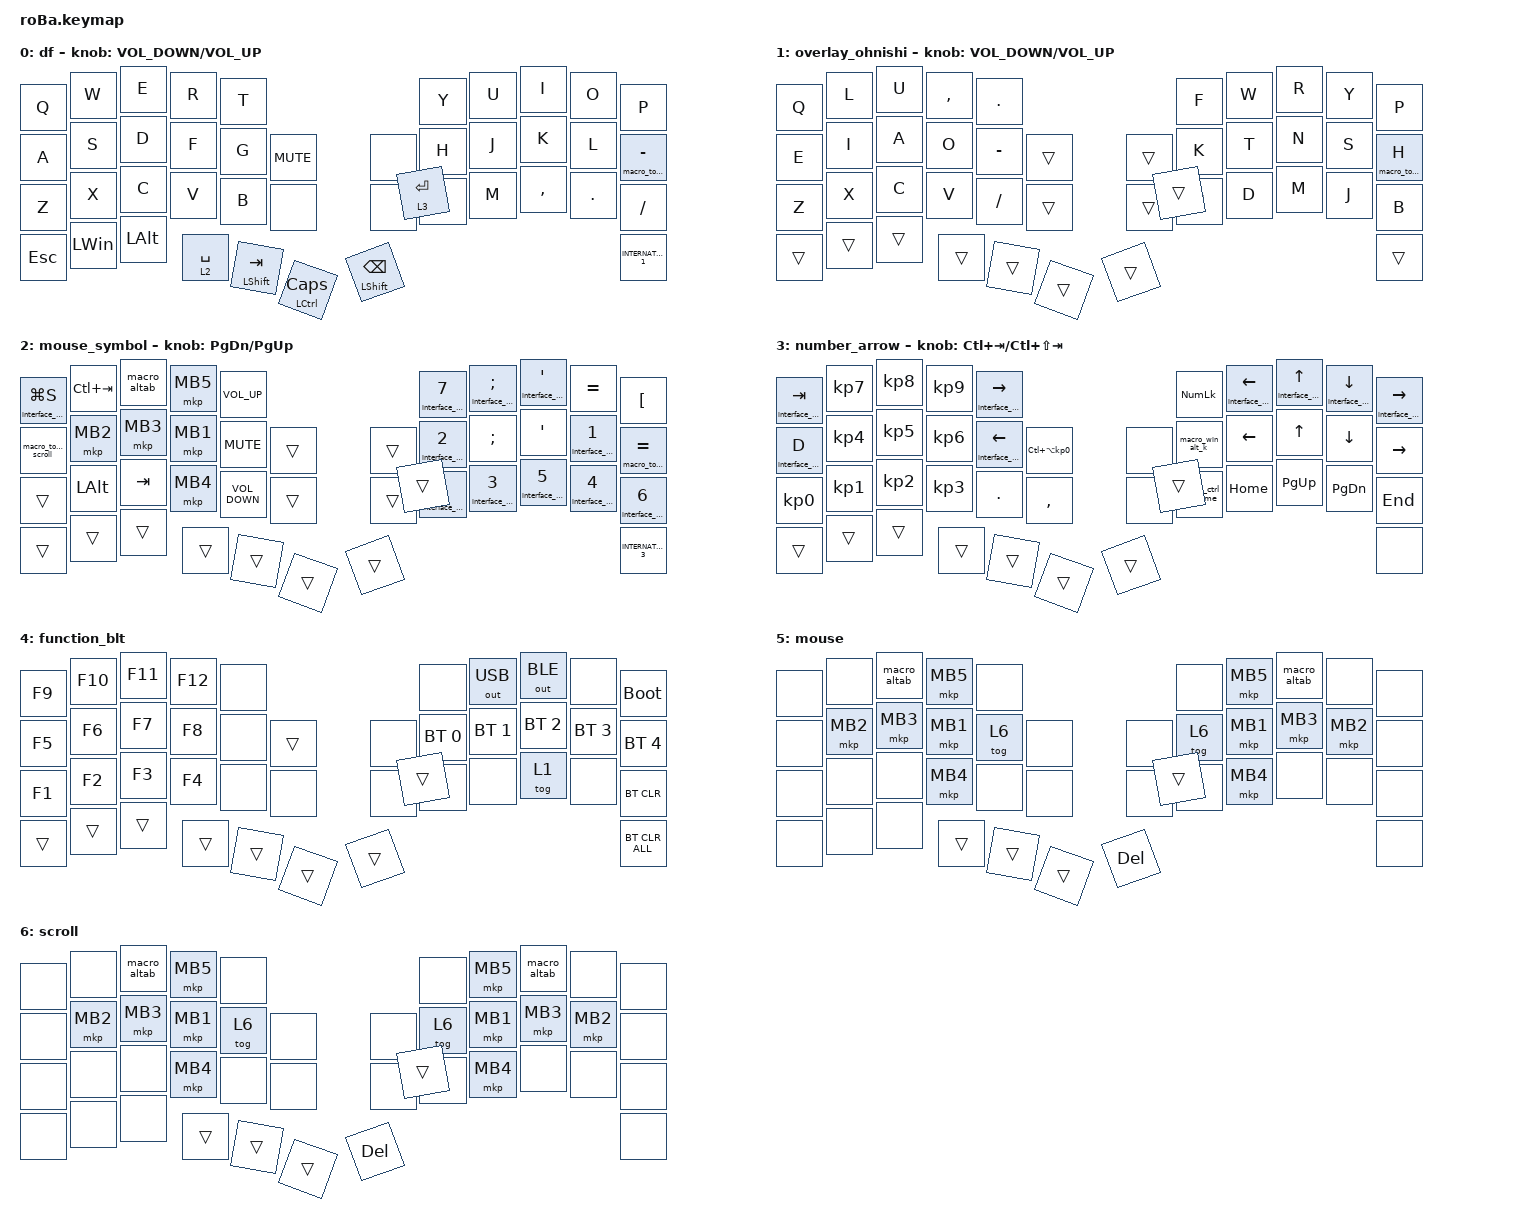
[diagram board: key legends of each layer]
#include <behaviors.dtsi>
#include <dt-bindings/zmk/bt.h>
#include <dt-bindings/zmk/keys.h>
#include <dt-bindings/zmk/outputs.h>
#include <dt-bindings/zmk/pointing.h>

#define MOUSE 1
#define SCROLL 2
#define NUM 6

// OS設定を日本語キーボードのまま使用するための変換定義

#define JP_ZKHK  GRAVE        // Zenkaku ↔ Hankaku ↔ Kanji (半角 ↔ 全角 ↔ 漢字)
#define JP_MINUS MINUS        // -
#define JP_CARET EQUAL        // ^
#define JP_YEN   INT3         // ¥
#define JP_AT    LBKT         // @
#define JP_LBKT  RBKT         // [
#define JP_EISU  CAPS         // Eisū (英数)
#define JP_SEMI  SEMI         // ;
#define JP_COLON SQT          // :
#define JP_RBKT  NUHS         // ]
#define JP_COMMA COMMA        // ,
#define JP_DOT   DOT          // .
#define JP_SLASH SLASH        // /
#define JP_BSLH  INT1         // (backslash)
#define JP_MHEN  INT5         // Muhenkan (無変換)
#define JP_HENK  INT4         // Henkan (変換)
#define JP_KANA  INT2         // Katakana ↔ Hiragana ↔ Rōmaji (カタカナ ↔ ひらがな ↔ ローマ字)
#define JP_EXCL  LS(N1)       // !
#define JP_DQT   LS(N2)       // "
#define JP_HASH  LS(N3)       // #
#define JP_DLLR  LS(N4)       // $
#define JP_PRCNT LS(N5)       // %
#define JP_AMPS  LS(N6)       // &
#define JP_SQT   LS(N7)       // '
#define JP_LPAR  LS(N8)       // (
#define JP_RPAR  LS(N9)       // )
#define JP_EQUAL LS(JP_MINUS) // =
#define JP_TILDE LS(JP_CARET) // ~
#define JP_PIPE  LS(JP_YEN)   // |
#define JP_GRAVE LS(JP_AT)    // `
#define JP_LBRC  LS(JP_LBKT)  // {
#define JP_CAPS  LS(JP_EISU)  // Caps Lock
#define JP_PLUS  LS(JP_SEMI)  // +
#define JP_ASTRK LS(JP_COLON) // *
#define JP_RBRC  LS(JP_RBKT)  // }
#define JP_LT    LS(JP_COMMA) // <
#define JP_RT    LS(JP_DOT)   // >
#define JP_QMARK LS(JP_SLASH) // ?
#define JP_UNDER LS(JP_BSLH)  // _

&mt {
    flavor = "balanced";
    quick-tap-ms = <165>;
    tapping-term-ms = <170>;
};

&lt {
    flavor = "balanced";
    quick-tap-ms = <165>;
    tapping-term-ms = <170>;
};

/ {
    combos {
        compatible = "zmk,combos";

        combo_lang1 {
            bindings = <&kp INTERNATIONAL_5>;
            key-positions = <13 12>;
            layers = <0 1>;
        };

        combo_lang2 {
            bindings = <&kp INTERNATIONAL_4>;
            key-positions = <18 19>;
            layers = <0 1>;
        };

        combo_square_bracket_left {
            bindings = <&kp RIGHT_BRACKET>;
            key-positions = <2 3>;
            layers = <0 1>;
        };

        combo_square_bracket_right {
            bindings = <&kp NUHS>;
            key-positions = <7 6>;
            layers = <0 1>;
        };

        combo_parenthess_left {
            bindings = <&interface_shift N8>;
            key-positions = <24 25>;
            layers = <0 1>;
        };

        combo_parenthess_right {
            bindings = <&interface_shift N9>;
            key-positions = <30 31>;
            layers = <0 1>;
        };

        combo_curly_bracket_left {
            bindings = <&interface_shift RIGHT_BRACKET>;
            key-positions = <3 2>;
            layers = <2>;
        };

        combo_curly_bracket_right {
            bindings = <&interface_shift NUHS>;
            key-positions = <7 6>;
            layers = <2>;
        };

        combo_angle_braket_left {
            bindings = <&interface_shift COMMA>;
            key-positions = <25 24>;
            layers = <2>;
        };

        combo_angle_braket_right {
            bindings = <&interface_shift PERIOD>;
            key-positions = <30 31>;
            layers = <2>;
        };
    };

    macros {
        to_layer_0: to_layer_0 {
            compatible = "zmk,behavior-macro-one-param";
            #binding-cells = <1>;
            bindings = <&to 0 &macro_param_1to1 &kp MACRO_PLACEHOLDER>;
            label = "TO_LAYER_0";
        };

        interface_shift: interface_shift {
            compatible = "zmk,behavior-macro-one-param";
            #binding-cells = <1>;
            bindings =
                <&macro_press>,
                <&kp LEFT_SHIFT>,
                <&macro_tap>,
                <&macro_param_1to1 &kp MACRO_PLACEHOLDER>,
                <&macro_release>,
                <&kp LEFT_SHIFT>;

            label = "INTERFACES_SHIFT";
        };

        interface_ctrl: interface_ctrl {
            compatible = "zmk,behavior-macro-one-param";
            #binding-cells = <1>;
            bindings =
                <&macro_press>,
                <&kp LCTRL>,
                <&macro_tap>,
                <&macro_param_1to1 &kp MACRO_PLACEHOLDER>,
                <&macro_release>,
                <&kp LCTRL>;

            label = "INTERFACE_CTRL";
        };

        macro_altab: macro_altab {
            compatible = "zmk,behavior-macro";
            #binding-cells = <0>;
            bindings =
                <&macro_press>,
                <&kp LEFT_ALT &kp LCTRL>,
                <&macro_tap>,
                <&kp TAB>,
                <&macro_release>,
                <&kp LEFT_ALT &kp LCTRL>;

            label = "MACRO_ALTAB";
        };

        macro_toggle_scroll: macro_toggle_scroll {
            compatible = "zmk,behavior-macro";
            #binding-cells = <0>;
            bindings =
                <&macro_press>,
                <&mo 5 &mo 6>,
                <&macro_pause_for_release>,
                <&macro_release>,
                <&mo 5 &mo 6>;
        };

        macro_ctrl_alt_home: macro_ctrl_alt_home {
            compatible = "zmk,behavior-macro";
            #binding-cells = <0>;
            bindings =
                <&macro_press>,
                <&kp LCTRL &kp LEFT_ALT>,
                <&macro_tap>,
                <&kp HOME>,
                <&macro_release>,
                <&kp LCTRL &kp LEFT_ALT>;

            label = "MACRO_CTRL_ALT_HOME";
        };

        macro_win_alt_k: macro_win_alt_k {
            compatible = "zmk,behavior-macro";
            #binding-cells = <0>;
            bindings =
                <&macro_press>,
                <&kp LEFT_WIN &kp LEFT_ALT>,
                <&macro_tap>,
                <&kp K>,
                <&macro_release>,
                <&kp LEFT_WIN &kp LEFT_ALT>;

            label = "MACRO_WIN_ALT_K";
        };

        interface_ctrl_win: interface_ctrl_win {
            compatible = "zmk,behavior-macro-one-param";
            #binding-cells = <1>;
            bindings =
                <&macro_press>,
                <&kp LCTRL &kp LEFT_WIN>,
                <&macro_tap>,
                <&macro_param_1to1 &kp MACRO_PLACEHOLDER>,
                <&macro_release>,
                <&kp LCTRL &kp LEFT_WIN>;

            label = "INTERFACE_CTRL_WIN";
        };

        interface_win: interface_win {
            compatible = "zmk,behavior-macro-one-param";
            #binding-cells = <1>;
            bindings =
                <&macro_press>,
                <&kp LEFT_WIN>,
                <&macro_tap>,
                <&macro_param_1to1 &kp MACRO_PLACEHOLDER>,
                <&macro_release>,
                <&kp LEFT_WIN>;

            label = "INTERFACE_WIN";
        };
    };

    behaviors {
        lt_to_layer_0: lt_to_layer_0 {
            compatible = "zmk,behavior-hold-tap";
            label = "LAYER_TAP_TO_0";
            bindings = <&mo>, <&to_layer_0>;

            #binding-cells = <2>;
            tapping-term-ms = <200>;
        };

        interface_layer_shift: interface_layer_shift {
            compatible = "zmk,behavior-hold-tap";
            label = "INTERFACE_LAYER_SHIFT";
            bindings = <&mo>, <&interface_shift>;

            #binding-cells = <2>;
            tapping-term-ms = <170>;
            flavor = "balanced";
        };

        interface_toggle_scroll: interface_toggle_scroll {
            compatible = "zmk,behavior-hold-tap";
            #binding-cells = <2>;
            flavor = "hold-preferred";
            tapping-term-ms = <170>;
            bindings = <&macro_toggle_scroll>, <&kp>;
        };

        interface_shift_toggle_scroll: interface_shift_toggle_scroll {
            compatible = "zmk,behavior-hold-tap";
            label = "LAYER_TAP_SIMULTANEOUS_SHIFT";
            #binding-cells = <2>;
            flavor = "balanced";
            tapping-term-ms = <170>;
            bindings = <&macro_toggle_scroll>, <&interface_shift>;
        };
    };

    keymap {
        compatible = "zmk,keymap";

        df {
            bindings = <
&kp Q       &kp W         &kp E         &kp R        &kp T                                                                 &kp Y        &kp U  &kp I      &kp O    &kp P
&kp A       &kp S         &kp D         &kp F        &kp G               &kp C_MUTE              &none                     &kp H        &kp J  &kp K      &kp L    &interface_toggle_scroll 0 MINUS
&kp Z       &kp X         &kp C         &kp V        &kp B               &none                   &none                     &kp N        &kp M  &kp COMMA  &kp DOT  &kp SLASH
&kp ESCAPE  &kp LEFT_WIN  &kp LEFT_ALT  &lt 2 SPACE  &mt LEFT_SHIFT TAB  &mt LCTRL CAPSLOCK      &mt LEFT_SHIFT BACKSPACE  &lt 3 ENTER                             &kp INTERNATIONAL_1
            >;

            sensor-bindings = <&inc_dec_kp C_VOLUME_DOWN C_VOLUME_UP>;
        };

        overlay_ohnishi {
            bindings = <
&kp Q   &kp L   &kp U   &kp COMMA  &kp DOT                        &kp F   &kp W  &kp R  &kp Y  &kp P
&kp E   &kp I   &kp A   &kp O      &kp MINUS  &trans      &trans  &kp K   &kp T  &kp N  &kp S  &interface_toggle_scroll 0 H
&kp Z   &kp X   &kp C   &kp V      &kp FSLH   &trans      &trans  &kp G   &kp D  &kp M  &kp J  &kp B
&trans  &trans  &trans  &trans     &trans     &trans      &trans  &trans                       &trans
            >;

            sensor-bindings = <&inc_dec_kp C_VOLUME_DOWN C_VOLUME_UP>;
        };

        mouse_symbol {
            bindings = <
&interface_shift LG(S)  &kp LC(TAB)   &macro_altab  &mkp MB5  &kp C_VOLUME_UP                        &interface_shift N7            &interface_shift SEMICOLON  &interface_shift SQT  &kp EQUAL                  &kp LEFT_BRACKET
&macro_toggle_scroll    &mkp MB2      &mkp MB3      &mkp MB1  &kp C_MUTE         &trans      &trans  &interface_shift NUMBER_2      &kp SEMICOLON               &kp SQT               &interface_shift NUMBER_1  &interface_shift_toggle_scroll 0 EQUAL
&trans                  &kp LEFT_ALT  &kp TAB       &mkp MB4  &kp C_VOLUME_DOWN  &trans      &trans  &interface_shift LEFT_BRACKET  &interface_shift NUMBER_3   &interface_shift N5   &interface_shift NUMBER_4  &interface_shift NUMBER_6
&trans                  &trans        &trans        &trans    &trans             &trans      &trans  &trans                                                                                                      &kp INTERNATIONAL_3
            >;

            sensor-bindings = <&inc_dec_kp PAGE_DOWN PAGE_UP>;
        };

        number_arrow {
            bindings = <
&interface_win TAB  &kp KP_N7  &kp KP_N8  &kp KP_N9  &interface_ctrl_win RIGHT_ARROW                                       &kp KP_NUM            &interface_ctrl LEFT_ARROW  &interface_ctrl UP_ARROW  &interface_ctrl DOWN_ARROW  &interface_ctrl RIGHT_ARROW
&interface_win D    &kp KP_N4  &kp KP_N5  &kp KP_N6  &interface_ctrl_win LEFT_ARROW   &kp LC(LA(KP_NUMBER_0))      &none   &macro_win_alt_k      &kp LEFT                    &kp UP_ARROW              &kp DOWN                    &kp RIGHT
&kp KP_N0           &kp KP_N1  &kp KP_N2  &kp KP_N3  &kp PERIOD                       &kp COMMA                    &none   &macro_ctrl_alt_home  &kp HOME                    &kp PAGE_UP               &kp PAGE_DOWN               &kp END
&trans              &trans     &trans     &trans     &trans                           &trans                       &trans  &trans                                                                                                  &none
            >;

            sensor-bindings = <&inc_dec_kp LC(TAB) LC(LS(TAB))>;
        };

        function_blt {
            bindings = <
&kp F9  &kp F10  &kp F11  &kp F12  &none                       &none         &out OUT_USB  &out OUT_BLE  &none         &bootloader
&kp F5  &kp F6   &kp F7   &kp F8   &none   &trans      &none   &bt BT_SEL 0  &bt BT_SEL 1  &bt BT_SEL 2  &bt BT_SEL 3  &bt BT_SEL 4
&kp F1  &kp F2   &kp F3   &kp F4   &none   &none       &none   &none         &none         &tog 1        &none         &bt BT_CLR
&trans  &trans   &trans   &trans   &trans  &trans      &trans  &trans                                                  &bt BT_CLR_ALL
            >;
        };

        mouse {
            bindings = <
&none  &none     &macro_altab  &mkp MB5  &none                        &none   &mkp MB5  &macro_altab  &none     &none
&none  &mkp MB2  &mkp MB3      &mkp MB1  &tog 6  &none       &none    &tog 6  &mkp MB1  &mkp MB3      &mkp MB2  &none
&none  &none     &none         &mkp MB4  &none   &none       &none    &none   &mkp MB4  &none         &none     &none
&none  &none     &none         &trans    &trans  &trans      &kp DEL  &trans                                    &none
            >;
        };

        scroll {
            bindings = <
&none  &none     &macro_altab  &mkp MB5  &none                        &none   &mkp MB5  &macro_altab  &none     &none
&none  &mkp MB2  &mkp MB3      &mkp MB1  &tog 6  &none       &none    &tog 6  &mkp MB1  &mkp MB3      &mkp MB2  &none
&none  &none     &none         &mkp MB4  &none   &none       &none    &none   &mkp MB4  &none         &none     &none
&none  &none     &none         &trans    &trans  &trans      &kp DEL  &trans                                    &none
            >;
        };
    };

    conditional_layers {
        compatible = "zmk,conditional-layers";

        blt_layer {
            if-layers = <2 3>;
            then-layer = <4>;
        };
    };
};
